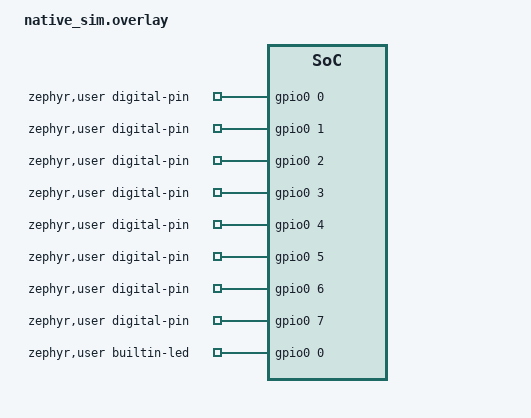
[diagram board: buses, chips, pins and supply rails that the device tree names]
/*
 * Copyright (c) 2026 Dhruva Gole <d-gole@ti.com>
 *
 * SPDX-License-Identifier: Apache-2.0
 */

/ {
	zephyr,user {
		digital-pin-gpios = <&gpio0 0 0>,
				    <&gpio0 1 0>,
				    <&gpio0 2 0>,
				    <&gpio0 3 0>,
				    <&gpio0 4 0>,
				    <&gpio0 5 0>,
				    <&gpio0 6 0>,
				    <&gpio0 7 0>;
		builtin-led-gpios = <&gpio0 0 0>;
		serials = <&uart0>;
	};
};
